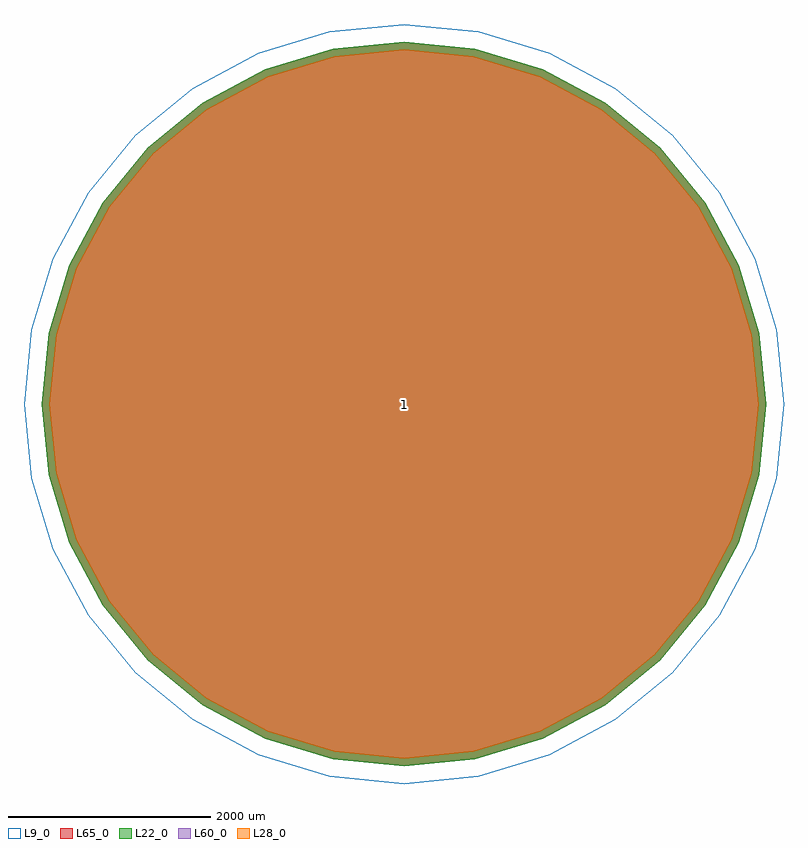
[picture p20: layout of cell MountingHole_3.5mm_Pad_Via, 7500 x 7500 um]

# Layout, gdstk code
import gdstk
lib = gdstk.Library(unit=1e-6, precision=1e-09)
def P(c, l, *ps):  # polygons
    for p in ps: c.add(gdstk.Polygon(p, *l))
L9_0 = (9, 0)
L22_0 = (22, 0)
L28_0 = (28, 0)
L60_0 = (60, 0)
L65_0 = (65, 0)

mountinghole_3_5mm_pad_v = lib.new_cell('MountingHole_3.5mm_Pad_Via')
P(mountinghole_3_5mm_pad_v, L9_0, [(3750,0),(3677.945,731.589),(3464.548,1435.063),(3118.011,2083.388),(2651.65,2651.65),(2083.388,3118.011),(1435.063,3464.548),(731.589,3677.945),(0,3750),(-731.589,3677.945),(-1435.063,3464.548),(-2083.388,3118.011),(-2651.65,2651.65),(-3118.011,2083.388),(-3464.548,1435.063),(-3677.945,731.589),(-3750,0),(-3677.945,-731.589),(-3464.548,-1435.063),(-3118.011,-2083.388),(-2651.65,-2651.65),(-2083.388,-3118.011),(-1435.063,-3464.548),(-731.589,-3677.945),(0,-3750),(731.589,-3677.945),(1435.063,-3464.548),(2083.388,-3118.011),(2651.65,-2651.65),(3118.011,-2083.388),(3464.548,-1435.063),(3677.945,-731.589)],
  [(3500,0),(3432.748,682.816),(3233.578,1339.392),(2910.144,1944.496),(2474.874,2474.874),(1944.496,2910.144),(1339.392,3233.578),(682.816,3432.748),(0,3500),(-682.816,3432.748),(-1339.392,3233.578),(-1944.496,2910.144),(-2474.874,2474.874),(-2910.144,1944.496),(-3233.578,1339.392),(-3432.748,682.816),(-3500,0),(-3432.748,-682.816),(-3233.578,-1339.392),(-2910.144,-1944.496),(-2474.874,-2474.874),(-1944.496,-2910.144),(-1339.392,-3233.578),(-682.816,-3432.748),(0,-3500),(682.816,-3432.748),(1339.392,-3233.578),(1944.496,-2910.144),(2474.874,-2474.874),(2910.144,-1944.496),(3233.578,-1339.392),(3432.748,-682.816)])
P(mountinghole_3_5mm_pad_v, L22_0, [(2231.155,1856.155),(2223.949,1929.314),(2202.61,1999.661),(2167.956,2064.494),(2121.32,2121.32),(2064.494,2167.956),(1999.661,2202.61),(1929.314,2223.949),(1856.155,2231.155),(1782.996,2223.949),(1712.649,2202.61),(1647.816,2167.956),(1590.99,2121.32),(1544.354,2064.494),(1509.7,1999.661),(1488.361,1929.314),(1481.155,1856.155),(1488.361,1782.996),(1509.7,1712.649),(1544.354,1647.816),(1590.99,1590.99),(1647.816,1544.354),(1712.649,1509.7),(1782.996,1488.361),(1856.155,1481.155),(1929.314,1488.361),(1999.661,1509.7),(2064.494,1544.354),(2121.32,1590.99),(2167.956,1647.816),(2202.61,1712.649),(2223.949,1782.996)],
  [(375,2625),(367.794,2698.159),(346.455,2768.506),(311.801,2833.339),(265.165,2890.165),(208.339,2936.801),(143.506,2971.455),(73.159,2992.794),(0,3000),(-73.159,2992.794),(-143.506,2971.455),(-208.339,2936.801),(-265.165,2890.165),(-311.801,2833.339),(-346.455,2768.506),(-367.794,2698.159),(-375,2625),(-367.794,2551.841),(-346.455,2481.494),(-311.801,2416.661),(-265.165,2359.835),(-208.339,2313.199),(-143.506,2278.545),(-73.159,2257.206),(0,2250),(73.159,2257.206),(143.506,2278.545),(208.339,2313.199),(265.165,2359.835),(311.801,2416.661),(346.455,2481.494),(367.794,2551.841)],
  [(-1481.155,1856.155),(-1488.361,1929.314),(-1509.7,1999.661),(-1544.354,2064.494),(-1590.99,2121.32),(-1647.816,2167.956),(-1712.649,2202.61),(-1782.996,2223.949),(-1856.155,2231.155),(-1929.314,2223.949),(-1999.661,2202.61),(-2064.494,2167.956),(-2121.32,2121.32),(-2167.956,2064.494),(-2202.61,1999.661),(-2223.949,1929.314),(-2231.155,1856.155),(-2223.949,1782.996),(-2202.61,1712.649),(-2167.956,1647.816),(-2121.32,1590.99),(-2064.494,1544.354),(-1999.661,1509.7),(-1929.314,1488.361),(-1856.155,1481.155),(-1782.996,1488.361),(-1712.649,1509.7),(-1647.816,1544.354),(-1590.99,1590.99),(-1544.354,1647.816),(-1509.7,1712.649),(-1488.361,1782.996)],
  [(-2250,0),(-2257.206,73.159),(-2278.545,143.506),(-2313.199,208.339),(-2359.835,265.165),(-2416.661,311.801),(-2481.494,346.455),(-2551.841,367.794),(-2625,375),(-2698.159,367.794),(-2768.506,346.455),(-2833.339,311.801),(-2890.165,265.165),(-2936.801,208.339),(-2971.455,143.506),(-2992.794,73.159),(-3000,0),(-2992.794,-73.159),(-2971.455,-143.506),(-2936.801,-208.339),(-2890.165,-265.165),(-2833.339,-311.801),(-2768.506,-346.455),(-2698.159,-367.794),(-2625,-375),(-2551.841,-367.794),(-2481.494,-346.455),(-2416.661,-311.801),(-2359.835,-265.165),(-2313.199,-208.339),(-2278.545,-143.506),(-2257.206,-73.159)],
  [(-1481.155,-1856.155),(-1488.361,-1782.996),(-1509.7,-1712.649),(-1544.354,-1647.816),(-1590.99,-1590.99),(-1647.816,-1544.354),(-1712.649,-1509.7),(-1782.996,-1488.361),(-1856.155,-1481.155),(-1929.314,-1488.361),(-1999.661,-1509.7),(-2064.494,-1544.354),(-2121.32,-1590.99),(-2167.956,-1647.816),(-2202.61,-1712.649),(-2223.949,-1782.996),(-2231.155,-1856.155),(-2223.949,-1929.314),(-2202.61,-1999.661),(-2167.956,-2064.494),(-2121.32,-2121.32),(-2064.494,-2167.956),(-1999.661,-2202.61),(-1929.314,-2223.949),(-1856.155,-2231.155),(-1782.996,-2223.949),(-1712.649,-2202.61),(-1647.816,-2167.956),(-1590.99,-2121.32),(-1544.354,-2064.494),(-1509.7,-1999.661),(-1488.361,-1929.314)],
  [(375,-2625),(367.794,-2551.841),(346.455,-2481.494),(311.801,-2416.661),(265.165,-2359.835),(208.339,-2313.199),(143.506,-2278.545),(73.159,-2257.206),(0,-2250),(-73.159,-2257.206),(-143.506,-2278.545),(-208.339,-2313.199),(-265.165,-2359.835),(-311.801,-2416.661),(-346.455,-2481.494),(-367.794,-2551.841),(-375,-2625),(-367.794,-2698.159),(-346.455,-2768.506),(-311.801,-2833.339),(-265.165,-2890.165),(-208.339,-2936.801),(-143.506,-2971.455),(-73.159,-2992.794),(0,-3000),(73.159,-2992.794),(143.506,-2971.455),(208.339,-2936.801),(265.165,-2890.165),(311.801,-2833.339),(346.455,-2768.506),(367.794,-2698.159)],
  [(2231.155,-1856.155),(2223.949,-1782.996),(2202.61,-1712.649),(2167.956,-1647.816),(2121.32,-1590.99),(2064.494,-1544.354),(1999.661,-1509.7),(1929.314,-1488.361),(1856.155,-1481.155),(1782.996,-1488.361),(1712.649,-1509.7),(1647.816,-1544.354),(1590.99,-1590.99),(1544.354,-1647.816),(1509.7,-1712.649),(1488.361,-1782.996),(1481.155,-1856.155),(1488.361,-1929.314),(1509.7,-1999.661),(1544.354,-2064.494),(1590.99,-2121.32),(1647.816,-2167.956),(1712.649,-2202.61),(1782.996,-2223.949),(1856.155,-2231.155),(1929.314,-2223.949),(1999.661,-2202.61),(2064.494,-2167.956),(2121.32,-2121.32),(2167.956,-2064.494),(2202.61,-1999.661),(2223.949,-1929.314)],
  [(3000,0),(2992.794,73.159),(2971.455,143.506),(2936.801,208.339),(2890.165,265.165),(2833.339,311.801),(2768.506,346.455),(2698.159,367.794),(2625,375),(2551.841,367.794),(2481.494,346.455),(2416.661,311.801),(2359.835,265.165),(2313.199,208.339),(2278.545,143.506),(2257.206,73.159),(2250,0),(2257.206,-73.159),(2278.545,-143.506),(2313.199,-208.339),(2359.835,-265.165),(2416.661,-311.801),(2481.494,-346.455),(2551.841,-367.794),(2625,-375),(2698.159,-367.794),(2768.506,-346.455),(2833.339,-311.801),(2890.165,-265.165),(2936.801,-208.339),(2971.455,-143.506),(2992.794,-73.159)],
  [(3575,0),(3506.307,697.448),(3302.869,1368.093),(2972.504,1986.164),(2527.907,2527.907),(1986.164,2972.504),(1368.093,3302.869),(697.448,3506.307),(0,3575),(-697.448,3506.307),(-1368.093,3302.869),(-1986.164,2972.504),(-2527.907,2527.907),(-2972.504,1986.164),(-3302.869,1368.093),(-3506.307,697.448),(-3575,0),(-3506.307,-697.448),(-3302.869,-1368.093),(-2972.504,-1986.164),(-2527.907,-2527.907),(-1986.164,-2972.504),(-1368.093,-3302.869),(-697.448,-3506.307),(0,-3575),(697.448,-3506.307),(1368.093,-3302.869),(1986.164,-2972.504),(2527.907,-2527.907),(2972.504,-1986.164),(3302.869,-1368.093),(3506.307,-697.448)])
P(mountinghole_3_5mm_pad_v, L28_0, [(2156.155,1856.155),(2150.391,1914.682),(2133.319,1970.96),(2105.596,2022.826),(2068.287,2068.287),(2022.826,2105.596),(1970.96,2133.319),(1914.682,2150.391),(1856.155,2156.155),(1797.628,2150.391),(1741.35,2133.319),(1689.484,2105.596),(1644.023,2068.287),(1606.714,2022.826),(1578.991,1970.96),(1561.919,1914.682),(1556.155,1856.155),(1561.919,1797.628),(1578.991,1741.35),(1606.714,1689.484),(1644.023,1644.023),(1689.484,1606.714),(1741.35,1578.991),(1797.628,1561.919),(1856.155,1556.155),(1914.682,1561.919),(1970.96,1578.991),(2022.826,1606.714),(2068.287,1644.023),(2105.596,1689.484),(2133.319,1741.35),(2150.391,1797.628)],
  [(300,2625),(294.236,2683.527),(277.164,2739.805),(249.441,2791.671),(212.132,2837.132),(166.671,2874.441),(114.805,2902.164),(58.527,2919.236),(0,2925),(-58.527,2919.236),(-114.805,2902.164),(-166.671,2874.441),(-212.132,2837.132),(-249.441,2791.671),(-277.164,2739.805),(-294.236,2683.527),(-300,2625),(-294.236,2566.473),(-277.164,2510.195),(-249.441,2458.329),(-212.132,2412.868),(-166.671,2375.559),(-114.805,2347.836),(-58.527,2330.764),(0,2325),(58.527,2330.764),(114.805,2347.836),(166.671,2375.559),(212.132,2412.868),(249.441,2458.329),(277.164,2510.195),(294.236,2566.473)],
  [(-1556.155,1856.155),(-1561.919,1914.682),(-1578.991,1970.96),(-1606.714,2022.826),(-1644.023,2068.287),(-1689.484,2105.596),(-1741.35,2133.319),(-1797.628,2150.391),(-1856.155,2156.155),(-1914.682,2150.391),(-1970.96,2133.319),(-2022.826,2105.596),(-2068.287,2068.287),(-2105.596,2022.826),(-2133.319,1970.96),(-2150.391,1914.682),(-2156.155,1856.155),(-2150.391,1797.628),(-2133.319,1741.35),(-2105.596,1689.484),(-2068.287,1644.023),(-2022.826,1606.714),(-1970.96,1578.991),(-1914.682,1561.919),(-1856.155,1556.155),(-1797.628,1561.919),(-1741.35,1578.991),(-1689.484,1606.714),(-1644.023,1644.023),(-1606.714,1689.484),(-1578.991,1741.35),(-1561.919,1797.628)],
  [(-2325,0),(-2330.764,58.527),(-2347.836,114.805),(-2375.559,166.671),(-2412.868,212.132),(-2458.329,249.441),(-2510.195,277.164),(-2566.473,294.236),(-2625,300),(-2683.527,294.236),(-2739.805,277.164),(-2791.671,249.441),(-2837.132,212.132),(-2874.441,166.671),(-2902.164,114.805),(-2919.236,58.527),(-2925,0),(-2919.236,-58.527),(-2902.164,-114.805),(-2874.441,-166.671),(-2837.132,-212.132),(-2791.671,-249.441),(-2739.805,-277.164),(-2683.527,-294.236),(-2625,-300),(-2566.473,-294.236),(-2510.195,-277.164),(-2458.329,-249.441),(-2412.868,-212.132),(-2375.559,-166.671),(-2347.836,-114.805),(-2330.764,-58.527)],
  [(-1556.155,-1856.155),(-1561.919,-1797.628),(-1578.991,-1741.35),(-1606.714,-1689.484),(-1644.023,-1644.023),(-1689.484,-1606.714),(-1741.35,-1578.991),(-1797.628,-1561.919),(-1856.155,-1556.155),(-1914.682,-1561.919),(-1970.96,-1578.991),(-2022.826,-1606.714),(-2068.287,-1644.023),(-2105.596,-1689.484),(-2133.319,-1741.35),(-2150.391,-1797.628),(-2156.155,-1856.155),(-2150.391,-1914.682),(-2133.319,-1970.96),(-2105.596,-2022.826),(-2068.287,-2068.287),(-2022.826,-2105.596),(-1970.96,-2133.319),(-1914.682,-2150.391),(-1856.155,-2156.155),(-1797.628,-2150.391),(-1741.35,-2133.319),(-1689.484,-2105.596),(-1644.023,-2068.287),(-1606.714,-2022.826),(-1578.991,-1970.96),(-1561.919,-1914.682)],
  [(300,-2625),(294.236,-2566.473),(277.164,-2510.195),(249.441,-2458.329),(212.132,-2412.868),(166.671,-2375.559),(114.805,-2347.836),(58.527,-2330.764),(0,-2325),(-58.527,-2330.764),(-114.805,-2347.836),(-166.671,-2375.559),(-212.132,-2412.868),(-249.441,-2458.329),(-277.164,-2510.195),(-294.236,-2566.473),(-300,-2625),(-294.236,-2683.527),(-277.164,-2739.805),(-249.441,-2791.671),(-212.132,-2837.132),(-166.671,-2874.441),(-114.805,-2902.164),(-58.527,-2919.236),(0,-2925),(58.527,-2919.236),(114.805,-2902.164),(166.671,-2874.441),(212.132,-2837.132),(249.441,-2791.671),(277.164,-2739.805),(294.236,-2683.527)],
  [(2156.155,-1856.155),(2150.391,-1797.628),(2133.319,-1741.35),(2105.596,-1689.484),(2068.287,-1644.023),(2022.826,-1606.714),(1970.96,-1578.991),(1914.682,-1561.919),(1856.155,-1556.155),(1797.628,-1561.919),(1741.35,-1578.991),(1689.484,-1606.714),(1644.023,-1644.023),(1606.714,-1689.484),(1578.991,-1741.35),(1561.919,-1797.628),(1556.155,-1856.155),(1561.919,-1914.682),(1578.991,-1970.96),(1606.714,-2022.826),(1644.023,-2068.287),(1689.484,-2105.596),(1741.35,-2133.319),(1797.628,-2150.391),(1856.155,-2156.155),(1914.682,-2150.391),(1970.96,-2133.319),(2022.826,-2105.596),(2068.287,-2068.287),(2105.596,-2022.826),(2133.319,-1970.96),(2150.391,-1914.682)],
  [(2925,0),(2919.236,58.527),(2902.164,114.805),(2874.441,166.671),(2837.132,212.132),(2791.671,249.441),(2739.805,277.164),(2683.527,294.236),(2625,300),(2566.473,294.236),(2510.195,277.164),(2458.329,249.441),(2412.868,212.132),(2375.559,166.671),(2347.836,114.805),(2330.764,58.527),(2325,0),(2330.764,-58.527),(2347.836,-114.805),(2375.559,-166.671),(2412.868,-212.132),(2458.329,-249.441),(2510.195,-277.164),(2566.473,-294.236),(2625,-300),(2683.527,-294.236),(2739.805,-277.164),(2791.671,-249.441),(2837.132,-212.132),(2874.441,-166.671),(2902.164,-114.805),(2919.236,-58.527)],
  [(3500,0),(3432.748,682.816),(3233.578,1339.392),(2910.144,1944.496),(2474.874,2474.874),(1944.496,2910.144),(1339.392,3233.578),(682.816,3432.748),(0,3500),(-682.816,3432.748),(-1339.392,3233.578),(-1944.496,2910.144),(-2474.874,2474.874),(-2910.144,1944.496),(-3233.578,1339.392),(-3432.748,682.816),(-3500,0),(-3432.748,-682.816),(-3233.578,-1339.392),(-2910.144,-1944.496),(-2474.874,-2474.874),(-1944.496,-2910.144),(-1339.392,-3233.578),(-682.816,-3432.748),(0,-3500),(682.816,-3432.748),(1339.392,-3233.578),(1944.496,-2910.144),(2474.874,-2474.874),(2910.144,-1944.496),(3233.578,-1339.392),(3432.748,-682.816)])
P(mountinghole_3_5mm_pad_v, L60_0, [(2156.155,1856.155),(2150.391,1914.682),(2133.319,1970.96),(2105.596,2022.826),(2068.287,2068.287),(2022.826,2105.596),(1970.96,2133.319),(1914.682,2150.391),(1856.155,2156.155),(1797.628,2150.391),(1741.35,2133.319),(1689.484,2105.596),(1644.023,2068.287),(1606.714,2022.826),(1578.991,1970.96),(1561.919,1914.682),(1556.155,1856.155),(1561.919,1797.628),(1578.991,1741.35),(1606.714,1689.484),(1644.023,1644.023),(1689.484,1606.714),(1741.35,1578.991),(1797.628,1561.919),(1856.155,1556.155),(1914.682,1561.919),(1970.96,1578.991),(2022.826,1606.714),(2068.287,1644.023),(2105.596,1689.484),(2133.319,1741.35),(2150.391,1797.628)],
  [(300,2625),(294.236,2683.527),(277.164,2739.805),(249.441,2791.671),(212.132,2837.132),(166.671,2874.441),(114.805,2902.164),(58.527,2919.236),(0,2925),(-58.527,2919.236),(-114.805,2902.164),(-166.671,2874.441),(-212.132,2837.132),(-249.441,2791.671),(-277.164,2739.805),(-294.236,2683.527),(-300,2625),(-294.236,2566.473),(-277.164,2510.195),(-249.441,2458.329),(-212.132,2412.868),(-166.671,2375.559),(-114.805,2347.836),(-58.527,2330.764),(0,2325),(58.527,2330.764),(114.805,2347.836),(166.671,2375.559),(212.132,2412.868),(249.441,2458.329),(277.164,2510.195),(294.236,2566.473)],
  [(-1556.155,1856.155),(-1561.919,1914.682),(-1578.991,1970.96),(-1606.714,2022.826),(-1644.023,2068.287),(-1689.484,2105.596),(-1741.35,2133.319),(-1797.628,2150.391),(-1856.155,2156.155),(-1914.682,2150.391),(-1970.96,2133.319),(-2022.826,2105.596),(-2068.287,2068.287),(-2105.596,2022.826),(-2133.319,1970.96),(-2150.391,1914.682),(-2156.155,1856.155),(-2150.391,1797.628),(-2133.319,1741.35),(-2105.596,1689.484),(-2068.287,1644.023),(-2022.826,1606.714),(-1970.96,1578.991),(-1914.682,1561.919),(-1856.155,1556.155),(-1797.628,1561.919),(-1741.35,1578.991),(-1689.484,1606.714),(-1644.023,1644.023),(-1606.714,1689.484),(-1578.991,1741.35),(-1561.919,1797.628)],
  [(-2325,0),(-2330.764,58.527),(-2347.836,114.805),(-2375.559,166.671),(-2412.868,212.132),(-2458.329,249.441),(-2510.195,277.164),(-2566.473,294.236),(-2625,300),(-2683.527,294.236),(-2739.805,277.164),(-2791.671,249.441),(-2837.132,212.132),(-2874.441,166.671),(-2902.164,114.805),(-2919.236,58.527),(-2925,0),(-2919.236,-58.527),(-2902.164,-114.805),(-2874.441,-166.671),(-2837.132,-212.132),(-2791.671,-249.441),(-2739.805,-277.164),(-2683.527,-294.236),(-2625,-300),(-2566.473,-294.236),(-2510.195,-277.164),(-2458.329,-249.441),(-2412.868,-212.132),(-2375.559,-166.671),(-2347.836,-114.805),(-2330.764,-58.527)],
  [(-1556.155,-1856.155),(-1561.919,-1797.628),(-1578.991,-1741.35),(-1606.714,-1689.484),(-1644.023,-1644.023),(-1689.484,-1606.714),(-1741.35,-1578.991),(-1797.628,-1561.919),(-1856.155,-1556.155),(-1914.682,-1561.919),(-1970.96,-1578.991),(-2022.826,-1606.714),(-2068.287,-1644.023),(-2105.596,-1689.484),(-2133.319,-1741.35),(-2150.391,-1797.628),(-2156.155,-1856.155),(-2150.391,-1914.682),(-2133.319,-1970.96),(-2105.596,-2022.826),(-2068.287,-2068.287),(-2022.826,-2105.596),(-1970.96,-2133.319),(-1914.682,-2150.391),(-1856.155,-2156.155),(-1797.628,-2150.391),(-1741.35,-2133.319),(-1689.484,-2105.596),(-1644.023,-2068.287),(-1606.714,-2022.826),(-1578.991,-1970.96),(-1561.919,-1914.682)],
  [(300,-2625),(294.236,-2566.473),(277.164,-2510.195),(249.441,-2458.329),(212.132,-2412.868),(166.671,-2375.559),(114.805,-2347.836),(58.527,-2330.764),(0,-2325),(-58.527,-2330.764),(-114.805,-2347.836),(-166.671,-2375.559),(-212.132,-2412.868),(-249.441,-2458.329),(-277.164,-2510.195),(-294.236,-2566.473),(-300,-2625),(-294.236,-2683.527),(-277.164,-2739.805),(-249.441,-2791.671),(-212.132,-2837.132),(-166.671,-2874.441),(-114.805,-2902.164),(-58.527,-2919.236),(0,-2925),(58.527,-2919.236),(114.805,-2902.164),(166.671,-2874.441),(212.132,-2837.132),(249.441,-2791.671),(277.164,-2739.805),(294.236,-2683.527)],
  [(2156.155,-1856.155),(2150.391,-1797.628),(2133.319,-1741.35),(2105.596,-1689.484),(2068.287,-1644.023),(2022.826,-1606.714),(1970.96,-1578.991),(1914.682,-1561.919),(1856.155,-1556.155),(1797.628,-1561.919),(1741.35,-1578.991),(1689.484,-1606.714),(1644.023,-1644.023),(1606.714,-1689.484),(1578.991,-1741.35),(1561.919,-1797.628),(1556.155,-1856.155),(1561.919,-1914.682),(1578.991,-1970.96),(1606.714,-2022.826),(1644.023,-2068.287),(1689.484,-2105.596),(1741.35,-2133.319),(1797.628,-2150.391),(1856.155,-2156.155),(1914.682,-2150.391),(1970.96,-2133.319),(2022.826,-2105.596),(2068.287,-2068.287),(2105.596,-2022.826),(2133.319,-1970.96),(2150.391,-1914.682)],
  [(2925,0),(2919.236,58.527),(2902.164,114.805),(2874.441,166.671),(2837.132,212.132),(2791.671,249.441),(2739.805,277.164),(2683.527,294.236),(2625,300),(2566.473,294.236),(2510.195,277.164),(2458.329,249.441),(2412.868,212.132),(2375.559,166.671),(2347.836,114.805),(2330.764,58.527),(2325,0),(2330.764,-58.527),(2347.836,-114.805),(2375.559,-166.671),(2412.868,-212.132),(2458.329,-249.441),(2510.195,-277.164),(2566.473,-294.236),(2625,-300),(2683.527,-294.236),(2739.805,-277.164),(2791.671,-249.441),(2837.132,-212.132),(2874.441,-166.671),(2902.164,-114.805),(2919.236,-58.527)],
  [(3500,0),(3432.748,682.816),(3233.578,1339.392),(2910.144,1944.496),(2474.874,2474.874),(1944.496,2910.144),(1339.392,3233.578),(682.816,3432.748),(0,3500),(-682.816,3432.748),(-1339.392,3233.578),(-1944.496,2910.144),(-2474.874,2474.874),(-2910.144,1944.496),(-3233.578,1339.392),(-3432.748,682.816),(-3500,0),(-3432.748,-682.816),(-3233.578,-1339.392),(-2910.144,-1944.496),(-2474.874,-2474.874),(-1944.496,-2910.144),(-1339.392,-3233.578),(-682.816,-3432.748),(0,-3500),(682.816,-3432.748),(1339.392,-3233.578),(1944.496,-2910.144),(2474.874,-2474.874),(2910.144,-1944.496),(3233.578,-1339.392),(3432.748,-682.816)])
P(mountinghole_3_5mm_pad_v, L65_0, [(2231.155,1856.155),(2223.949,1929.314),(2202.61,1999.661),(2167.956,2064.494),(2121.32,2121.32),(2064.494,2167.956),(1999.661,2202.61),(1929.314,2223.949),(1856.155,2231.155),(1782.996,2223.949),(1712.649,2202.61),(1647.816,2167.956),(1590.99,2121.32),(1544.354,2064.494),(1509.7,1999.661),(1488.361,1929.314),(1481.155,1856.155),(1488.361,1782.996),(1509.7,1712.649),(1544.354,1647.816),(1590.99,1590.99),(1647.816,1544.354),(1712.649,1509.7),(1782.996,1488.361),(1856.155,1481.155),(1929.314,1488.361),(1999.661,1509.7),(2064.494,1544.354),(2121.32,1590.99),(2167.956,1647.816),(2202.61,1712.649),(2223.949,1782.996)],
  [(375,2625),(367.794,2698.159),(346.455,2768.506),(311.801,2833.339),(265.165,2890.165),(208.339,2936.801),(143.506,2971.455),(73.159,2992.794),(0,3000),(-73.159,2992.794),(-143.506,2971.455),(-208.339,2936.801),(-265.165,2890.165),(-311.801,2833.339),(-346.455,2768.506),(-367.794,2698.159),(-375,2625),(-367.794,2551.841),(-346.455,2481.494),(-311.801,2416.661),(-265.165,2359.835),(-208.339,2313.199),(-143.506,2278.545),(-73.159,2257.206),(0,2250),(73.159,2257.206),(143.506,2278.545),(208.339,2313.199),(265.165,2359.835),(311.801,2416.661),(346.455,2481.494),(367.794,2551.841)],
  [(-1481.155,1856.155),(-1488.361,1929.314),(-1509.7,1999.661),(-1544.354,2064.494),(-1590.99,2121.32),(-1647.816,2167.956),(-1712.649,2202.61),(-1782.996,2223.949),(-1856.155,2231.155),(-1929.314,2223.949),(-1999.661,2202.61),(-2064.494,2167.956),(-2121.32,2121.32),(-2167.956,2064.494),(-2202.61,1999.661),(-2223.949,1929.314),(-2231.155,1856.155),(-2223.949,1782.996),(-2202.61,1712.649),(-2167.956,1647.816),(-2121.32,1590.99),(-2064.494,1544.354),(-1999.661,1509.7),(-1929.314,1488.361),(-1856.155,1481.155),(-1782.996,1488.361),(-1712.649,1509.7),(-1647.816,1544.354),(-1590.99,1590.99),(-1544.354,1647.816),(-1509.7,1712.649),(-1488.361,1782.996)],
  [(-2250,0),(-2257.206,73.159),(-2278.545,143.506),(-2313.199,208.339),(-2359.835,265.165),(-2416.661,311.801),(-2481.494,346.455),(-2551.841,367.794),(-2625,375),(-2698.159,367.794),(-2768.506,346.455),(-2833.339,311.801),(-2890.165,265.165),(-2936.801,208.339),(-2971.455,143.506),(-2992.794,73.159),(-3000,0),(-2992.794,-73.159),(-2971.455,-143.506),(-2936.801,-208.339),(-2890.165,-265.165),(-2833.339,-311.801),(-2768.506,-346.455),(-2698.159,-367.794),(-2625,-375),(-2551.841,-367.794),(-2481.494,-346.455),(-2416.661,-311.801),(-2359.835,-265.165),(-2313.199,-208.339),(-2278.545,-143.506),(-2257.206,-73.159)],
  [(-1481.155,-1856.155),(-1488.361,-1782.996),(-1509.7,-1712.649),(-1544.354,-1647.816),(-1590.99,-1590.99),(-1647.816,-1544.354),(-1712.649,-1509.7),(-1782.996,-1488.361),(-1856.155,-1481.155),(-1929.314,-1488.361),(-1999.661,-1509.7),(-2064.494,-1544.354),(-2121.32,-1590.99),(-2167.956,-1647.816),(-2202.61,-1712.649),(-2223.949,-1782.996),(-2231.155,-1856.155),(-2223.949,-1929.314),(-2202.61,-1999.661),(-2167.956,-2064.494),(-2121.32,-2121.32),(-2064.494,-2167.956),(-1999.661,-2202.61),(-1929.314,-2223.949),(-1856.155,-2231.155),(-1782.996,-2223.949),(-1712.649,-2202.61),(-1647.816,-2167.956),(-1590.99,-2121.32),(-1544.354,-2064.494),(-1509.7,-1999.661),(-1488.361,-1929.314)],
  [(375,-2625),(367.794,-2551.841),(346.455,-2481.494),(311.801,-2416.661),(265.165,-2359.835),(208.339,-2313.199),(143.506,-2278.545),(73.159,-2257.206),(0,-2250),(-73.159,-2257.206),(-143.506,-2278.545),(-208.339,-2313.199),(-265.165,-2359.835),(-311.801,-2416.661),(-346.455,-2481.494),(-367.794,-2551.841),(-375,-2625),(-367.794,-2698.159),(-346.455,-2768.506),(-311.801,-2833.339),(-265.165,-2890.165),(-208.339,-2936.801),(-143.506,-2971.455),(-73.159,-2992.794),(0,-3000),(73.159,-2992.794),(143.506,-2971.455),(208.339,-2936.801),(265.165,-2890.165),(311.801,-2833.339),(346.455,-2768.506),(367.794,-2698.159)],
  [(2231.155,-1856.155),(2223.949,-1782.996),(2202.61,-1712.649),(2167.956,-1647.816),(2121.32,-1590.99),(2064.494,-1544.354),(1999.661,-1509.7),(1929.314,-1488.361),(1856.155,-1481.155),(1782.996,-1488.361),(1712.649,-1509.7),(1647.816,-1544.354),(1590.99,-1590.99),(1544.354,-1647.816),(1509.7,-1712.649),(1488.361,-1782.996),(1481.155,-1856.155),(1488.361,-1929.314),(1509.7,-1999.661),(1544.354,-2064.494),(1590.99,-2121.32),(1647.816,-2167.956),(1712.649,-2202.61),(1782.996,-2223.949),(1856.155,-2231.155),(1929.314,-2223.949),(1999.661,-2202.61),(2064.494,-2167.956),(2121.32,-2121.32),(2167.956,-2064.494),(2202.61,-1999.661),(2223.949,-1929.314)],
  [(3000,0),(2992.794,73.159),(2971.455,143.506),(2936.801,208.339),(2890.165,265.165),(2833.339,311.801),(2768.506,346.455),(2698.159,367.794),(2625,375),(2551.841,367.794),(2481.494,346.455),(2416.661,311.801),(2359.835,265.165),(2313.199,208.339),(2278.545,143.506),(2257.206,73.159),(2250,0),(2257.206,-73.159),(2278.545,-143.506),(2313.199,-208.339),(2359.835,-265.165),(2416.661,-311.801),(2481.494,-346.455),(2551.841,-367.794),(2625,-375),(2698.159,-367.794),(2768.506,-346.455),(2833.339,-311.801),(2890.165,-265.165),(2936.801,-208.339),(2971.455,-143.506),(2992.794,-73.159)],
  [(3575,0),(3506.307,697.448),(3302.869,1368.093),(2972.504,1986.164),(2527.907,2527.907),(1986.164,2972.504),(1368.093,3302.869),(697.448,3506.307),(0,3575),(-697.448,3506.307),(-1368.093,3302.869),(-1986.164,2972.504),(-2527.907,2527.907),(-2972.504,1986.164),(-3302.869,1368.093),(-3506.307,697.448),(-3575,0),(-3506.307,-697.448),(-3302.869,-1368.093),(-2972.504,-1986.164),(-2527.907,-2527.907),(-1986.164,-2972.504),(-1368.093,-3302.869),(-697.448,-3506.307),(0,-3575),(697.448,-3506.307),(1368.093,-3302.869),(1986.164,-2972.504),(2527.907,-2527.907),(2972.504,-1986.164),(3302.869,-1368.093),(3506.307,-697.448)])
mountinghole_3_5mm_pad_v.add(gdstk.Label('1', (0,0), layer=28, texttype=0))
mountinghole_3_5mm_pad_v.add(gdstk.Label('type', (0,-4500), layer=9, texttype=0))
mountinghole_3_5mm_pad_v.add(gdstk.Label('devicename', (0,4500), layer=9, texttype=0))

lib.write_gds('MountingHole_3.5mm_Pad_Via.gds')
